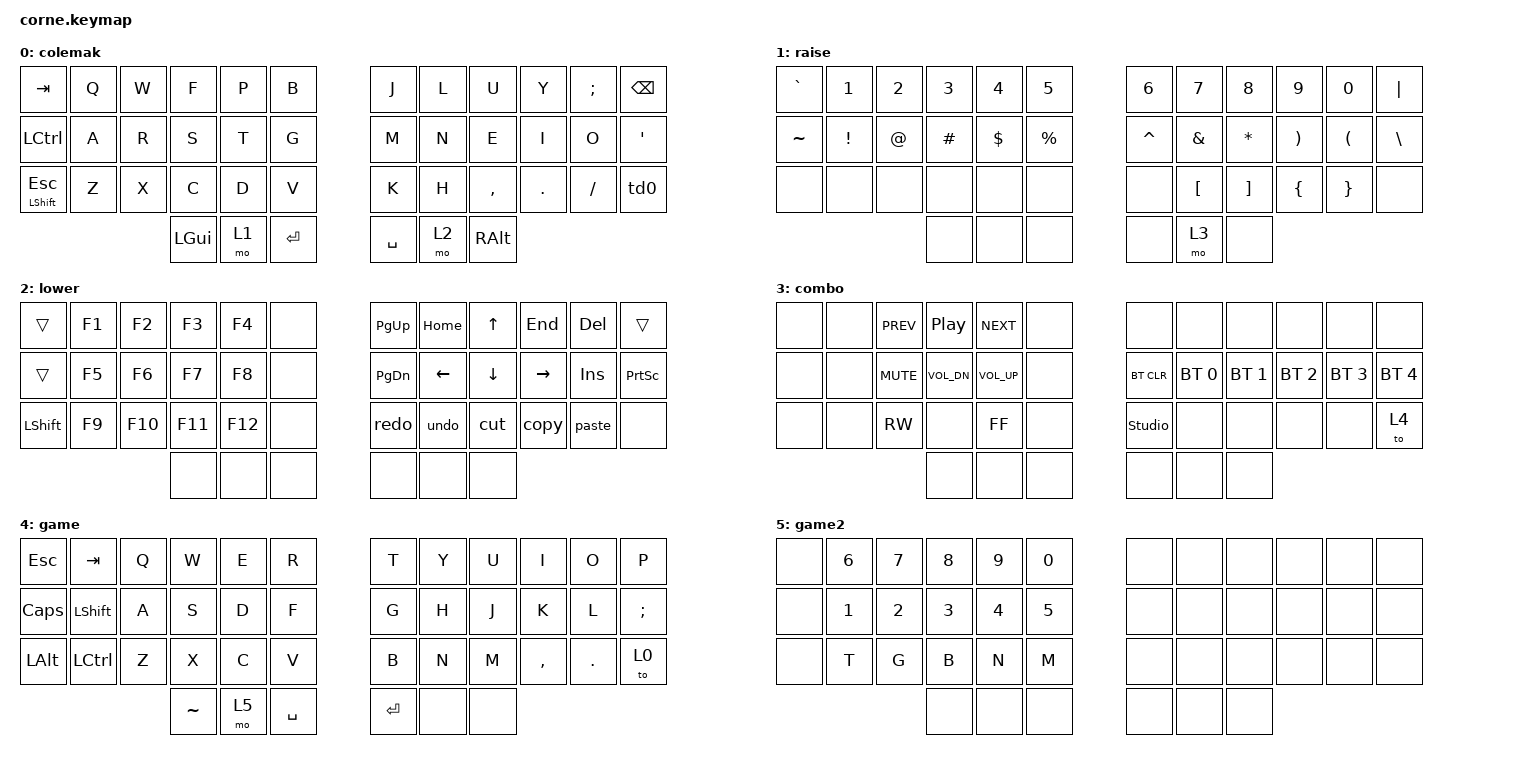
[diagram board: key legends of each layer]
#include <behaviors.dtsi>
#include <dt-bindings/zmk/keys.h>
#include <dt-bindings/zmk/bt.h>

#define colemak_dh 0
#define raise 1
#define lower 2
#define combo 3
#define game 4
#define game2 5
#define innactive 6

&lt {
        tapping-term-ms = <200>;
        quick-tap-ms = <200>;
};

/ {
        behaviors {
                td0: tap_dance_caps {
                        compatible = "zmk,behavior-tap-dance";
                        #binding-cells = <0>;
                        tapping-term-ms = <200>;
                        bindings = <&kp RSHIFT>, <&kp CAPS>;
                };

                lhrm: left_positional_hold_tap {
                        compatible = "zmk,behavior-hold-tap";
                        #binding-cells = <2>;
                        flavor = "tap-unless-interrupted";
                        tapping-term-ms = <200>;
                        quick-tap-ms = <200>;
                        bindings = <&kp>, <&kp>;
                        hold-trigger-key-positions = <6 7 8 9 10 11 18 19 20 21 22 23 30 31 32 33 34 35 39 40 41>; // Right-hand key positions for cross-hand activation
                };

                rhrm: right_positional_hold_tap {
                        compatible = "zmk,behavior-hold-tap";
                        #binding-cells = <2>;
                        flavor = "tap-unless-interrupted";
                        tapping-term-ms = <200>;
                        quick-tap-ms = <200>;
                        bindings = <&kp>, <&kp>;
                        hold-trigger-key-positions = <0 1 2 3 4 5 12 13 14 15 16 17 24 25 26 27 28 29 36 37 38>; // Left-hand key positions for cross-hand activation
                };
        };

        macros {
                undo: undo {
                compatible = "zmk,behavior-macro";
                #binding-cells = <0>;
                bindings
                        = <&macro_press &kp LCTRL>
                        , <&macro_tap &kp Z>
                        , <&macro_release &kp LCTRL>
                        ;
                };

                redo: redo {
                compatible = "zmk,behavior-macro";
                #binding-cells = <0>;
                bindings
                        = <&macro_press &kp LCTRL>
                        , <&macro_tap &kp Y>
                        , <&macro_release &kp LCTRL>
                        ;
                };

                copy: copy {
                compatible = "zmk,behavior-macro";
                #binding-cells = <0>;
                bindings
                        = <&macro_press &kp LCTRL>
                        , <&macro_tap &kp C>
                        , <&macro_release &kp LCTRL>
                        ;
                };

                cut: cut {
                compatible = "zmk,behavior-macro";
                #binding-cells = <0>;
                bindings
                        = <&macro_press &kp LCTRL>
                        , <&macro_tap &kp X>
                        , <&macro_release &kp LCTRL>
                        ;
                };

                paste: paste {
                compatible = "zmk,behavior-macro";
                #binding-cells = <0>;
                bindings
                        = <&macro_press &kp LCTRL>
                        , <&macro_tap &kp V>
                        , <&macro_release &kp LCTRL>
                        ;
                };
        };

        keymap {
                compatible = "zmk,keymap";

                colemak_dh {
// -----------------------------------------------------------------------------------------
// | TAB  |  Q  |  W  |  F  |  P  |  B  |   |  J  |  L  |  U  |  Y  |  ;  | Bspc |
// | Ctrl |  A  |  R  |  S  |  T  |  G  |   |  M  |  N  |  E  |  I  |  O  |  '   |
// | Shft |  Z  |  X  |  C  |  d  |  v  |   |  k  |  h  |  ,  |  .  |  /  | Shft |
//                    | Gui | Rse | Ent |   | Spc | Lwr | Alt |
                        display-name = "colemak";
                        bindings = <
   &kp TAB        &kp Q &kp W &kp F    &kp P &kp B     &kp J     &kp L &kp U     &kp Y   &kp SEMI &kp BSPC
   &kp LCTRL      &kp A &kp R &kp S    &kp T &kp G     &kp M     &kp N &kp E     &kp I   &kp O    &kp SQT
   &mt LSHIFT ESC &kp Z &kp X &kp C    &kp D &kp V     &kp K     &kp H &kp COMMA &kp DOT &kp FSLH &td0
                              &kp LGUI &mo 1 &kp RET   &kp SPACE &mo 2 &kp RALT
                        >;
                };

                raise {
// -----------------------------------------------------------------------------------------
// |  `   |  1  |  2  |  3  |  4  |  5  |   |  6  |  7  |  8  |  9  |  0  |  "|" |
// |  ~   |  !  |  @  |  #  |  $  |  %  |   |  ^  |  &  |  *  |  (  |  )  |   \  |
// |      |  -  |  _  |  =  |  +  |     |   |     |  [  |  ]  |  {  |  }  |      |
//                    |     | ___ |     |   |     | Cmb |     |
                        display-name = "raise";
                        bindings = <
   &kp GRAVE &kp N1   &kp N2 &kp N3   &kp N4   &kp N5      &kp N6    &kp N7   &kp N8   &kp N9   &kp N0   &kp PIPE
   &kp TILDE &kp EXCL &kp AT &kp HASH &kp DLLR &kp PRCNT   &kp CARET &kp AMPS &kp STAR &kp RPAR &kp LPAR &kp BSLH
   &none     &none    &none  &none    &none    &none       &none     &kp LBKT &kp RBKT &kp LBRC &kp RBRC &none
                             &none    &none    &none       &none     &mo 3    &none
                        >;
                };

                 lower {
// -----------------------------------------------------------------------------------------
// | Tab  | F1  | F2  | F3  | F4  |     |   | Pgu | Hme | Up  | End | Del | Bspc |
// | Ctrl | F5  | F6  | F7  | F8  |     |   | Pgd | Lft | Dwn | Rt  | Ins | Prnt |
// | Shft | F9  | F10 | F11 | F12 |     |   | Red | Und | Cut | Cpy | Pst |      |
//                    |     | Cmb |     |   |     | ___ |     |
                        display-name = "lower";
                        bindings = <
   &trans     &kp F1 &kp F2  &kp F3  &kp F4  &none   &kp PG_UP &kp HOME &kp UP   &kp END   &kp DEL &trans
   &trans     &kp F5 &kp F6  &kp F7  &kp F8  &none   &kp PG_DN &kp LEFT &kp DOWN &kp RIGHT &kp INS &kp PSCRN
   &kp LSHIFT &kp F9 &kp F10 &kp F11 &kp F12 &none   &redo     &undo    &cut     &copy     &paste  &none
                             &none   &none   &none   &none     &none    &none
                        >;
                };

                combo {
// -----------------------------------------------------------------------------------------
// |      |     | PRV | P/P | NXT |     |   |     |     |     |     |     |      |
// |      |     | MTE | VLD | VLU |     |   | btc | bt1 | bt2 | bt3 | bt4 |  bt5 |
// |      |     | RWD |     | FSF |     |   | btu |     |     |     |     |      |
//                    |     | ___ |     |   |     | ___ |     |
                        display-name = "combo";
                        bindings = <
   &none &none &kp C_PREV &kp C_PP     &kp C_NEXT   &none   &none          &none        &none        &none        &none        &none
   &none &none &kp C_MUTE &kp C_VOL_DN &kp C_VOL_UP &none   &bt BT_CLR     &bt BT_SEL 0 &bt BT_SEL 1 &bt BT_SEL 2 &bt BT_SEL 3 &bt BT_SEL 4
   &none &none &kp C_RW   &none        &kp C_FF     &none   &studio_unlock &none        &none        &none        &none        &to 4
                          &none        &none        &none   &none          &none        &none
                        >;
                };

                game {
// -----------------------------------------------------------------------------------------
// | ESC  | TAB |  Q  |  W  |  E  |  R  |   |  T  |  Y   |  U  |  I  |  O  |  P   |
// | CAPS | SHF |  A  |  S  |  D  |  F  |   |  G  |  H   |  J  |  K  |  L  |  ;   |
// | ALT  | CTL |  Z  |  X  |  C  |  V  |   |  B  |  N   |  M  |  ,  |  .  | game |
//               | ~ | gme2 | SPC |     | ENT | RSE  | ALT |
                        display-name = "game";
                        bindings = <
   &kp ESC  &kp TAB   &kp Q &kp W &kp E      &kp R &kp T &kp Y &kp U &kp I     &kp O   &kp P
   &kp CAPS &kp LSHFT &kp A &kp S &kp D      &kp F &kp G &kp H &kp J &kp K     &kp L   &kp SEMI
   &kp LALT &kp LCTRL &kp Z &kp X &kp C      &kp V &kp B &kp N &kp M &kp COMMA &kp DOT &to 0
              &kp TILDE &mo 5 &kp SPACE      &kp RET &none &none
                        >;
                };

                game2 {
// -----------------------------------------------------------------------------------------
// |      |  6  |  7  |  8  |  9  |  0  |   |     |     |     |     |     |      |
// |      |  1  |  2  |  3  |  4  |  5  |   |     |     |     |     |     |      |
// |      |  T  |  G  |  B  |  N  |  M  |   |     |     |     |     |     |      |
//                    |     |     | ___ |   |     |     |     |
                        display-name = "game2";
                        bindings = <
   &none &kp N6 &kp N7 &kp N8 &kp N9 &kp N0   &none &none &none &none &none &none
   &none &kp N1 &kp N2 &kp N3 &kp N4 &kp N5   &none &none &none &none &none &none
   &none &kp T  &kp G  &kp B  &kp N  &kp M    &none &none &none &none &none &none
                       &none  &none  &none    &none &none &none
                        >;
                };
        };
};
